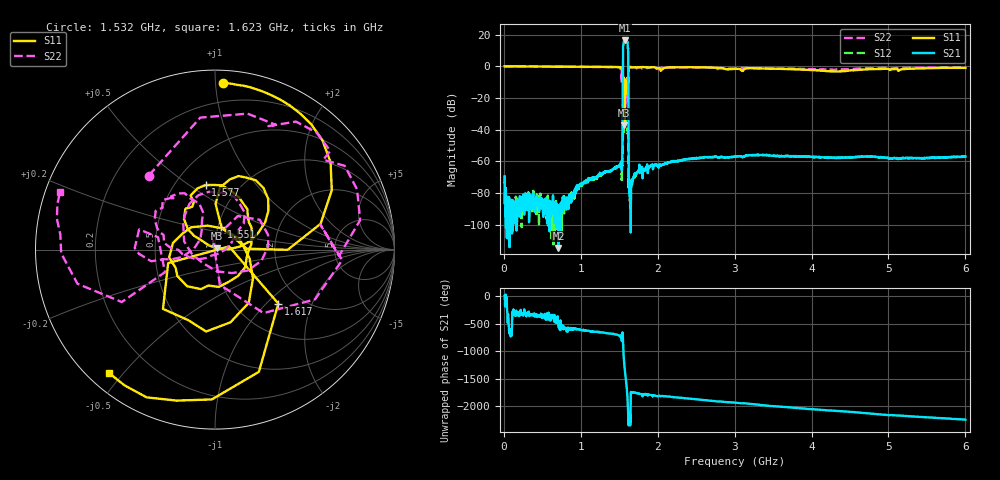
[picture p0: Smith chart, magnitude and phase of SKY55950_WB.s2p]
!Created with skrf (http://scikit-rf.org).
# Hz S RI R 50.0
!freq ReS11 ImS11 ReS21 ImS21 ReS12 ImS12 ReS22 ImS22
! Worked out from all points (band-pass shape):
!   5991 points, 10 MHz to 6 GHz, reference 50 ohm
!   highest |S21| = 16.34 dB at 1.569 GHz (marker M1); lowest = -114.8 dB at 710 MHz (marker M2)
!   |S21| within 3 dB of the highest: 1.552 GHz to 1.611 GHz (59.1 MHz wide, 3.74 % of centre)
!   lowest |S11| = -37.4 dB at 1.566 GHz (marker M3), VSWR 1.03, Z = 51.2 + j0.64 ohm
!   |S11| at or under -10 dB: 1.549296 GHz to 1.552712 GHz (3.416 MHz wide, 0.22 % of centre); 1.561 GHz to 1.575 GHz (13.66 MHz wide, 0.871 % of centre); 1.582 GHz to 1.61 GHz (27.46 MHz wide, 1.72 % of centre)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
!   |S22| runs from -30.2 to 0.0 dB; largest |S21 - S12| = 6.6
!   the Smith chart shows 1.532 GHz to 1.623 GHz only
!   S11 on the Smith chart (normalised r, x): 1.532 GHz: 0.08, +1.04; 1.551 GHz: 1.04, +0.26; 1.577 GHz: 0.70, +0.58; 1.617 GHz: 1.54, -1.18; 1.623 GHz: 0.06, -0.46
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1e7  1 -0.0279  0.000318 9.78e-05  6.88e-05 -0.000327  0.9994 -0.0346
3.85e8  0.4876 -0.8665  9.09e-05 1.49e-05  0.000103 2.8e-05  0.2872 -0.9459
7.1e8  -0.3388 -0.9243  -1.74e-06 5.52e-07  3.14e-05 -6.34e-06  -0.6537 -0.7208
1.009e9  -0.8747 -0.4268  -5.25e-05 0.000171  -4.45e-05 0.00019  -0.958 0.0632
1.509e9  -0.321 0.8855  0.0008 -1.74e-05  0.000752 -6.14e-05  0.4388 0.8208
1.532e9  0.0422 0.9292  0.000209 -0.00101  0.000255 -5.44e-05  -0.3689 0.4128
1.543e9  0.4748 0.7579  0.015 0.0228  0.000827 -0.000844  0.8089 0.1643
1.551e9  0.0357 0.1248  -4.073 1.664  -0.00614 0.00908  0.1271 0.187
1.566e9  0.012 0.00625  -6.17 -2.136  -0.00728 0.0106  -0.0321 0.3228
1.569e9  -0.1163 0.0766  -5.936 2.794  0.00278 0.0147  0.1083 0.2938
1.577e9  -0.0522 0.36  4.509 4.624  0.0175 -0.00678  0.0563 -0.000139
1.592e9  0.1694 -0.0973  -4.741 -3.065  -0.0153 0.00326  -0.2912 0.2339
1.604e9  -0.1307 0.1247  5.043 3.05  0.0103 -0.00183  -0.0726 0.1637
1.617e9  0.3527 -0.3009  0.685 -1.241  -0.00272 -0.00484  -0.5191 -0.2921
1.623e9  -0.593 -0.6856  -0.000349 -0.000246  5.23e-05 -0.000289  -0.8633 0.3211
1.652e9  -0.938 0.1477  4.89e-05 8.76e-05  1.5e-05 7.09e-05  -0.453 0.8238
2.007e9  -0.063 0.8639  0.000645 -0.000211  0.000708 -0.000172  0.599 0.5525
2.439e9  0.6128 0.7067  0.000521 -0.00109  0.000525 -0.00109  0.9059 -0.1869
3.005e9  0.8241 -0.1127  -0.000966 -0.000989  -0.000957 -0.000993  0.103 -0.8524
4.004e9  -0.2393 -0.7187  -0.000362 0.00133  -0.00035 0.00134  -0.6668 0.4761
5.002e9  -0.6953 0.4313  0.00127 -2.79e-05  0.00124 -2.32e-05  0.6889 0.5747
6e9  0.586 0.6707  0.000157 -0.00141  0.000176 -0.00139  0.609 -0.68
